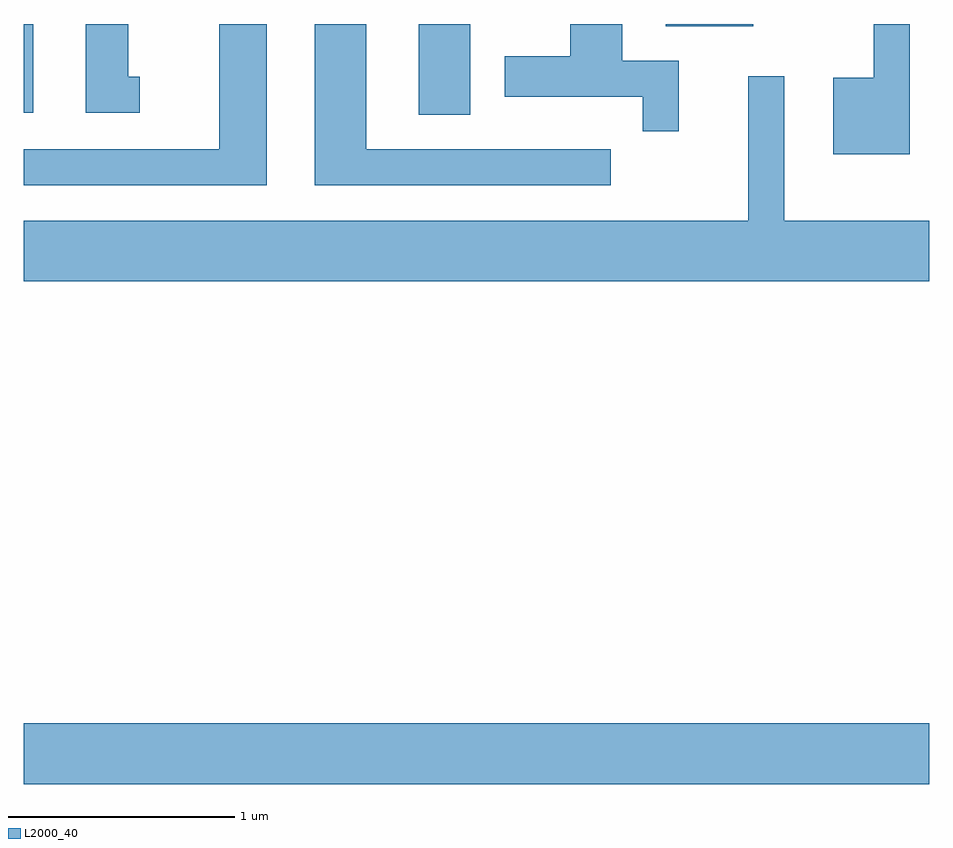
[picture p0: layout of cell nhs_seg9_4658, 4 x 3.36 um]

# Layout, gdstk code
import gdstk
lib = gdstk.Library(unit=1e-6, precision=1e-09)
def R(c, l, rs):  # rectangles x0, y0, x1, y1
    for r in rs: c.add(gdstk.rectangle(r[:2], r[2:], *l))
def P(c, l, *ps):  # polygons
    for p in ps: c.add(gdstk.Polygon(p, *l))
L2000_40 = (2000, 40)

nhs_seg9_4658 = lib.new_cell('nhs_seg9_4658')
R(nhs_seg9_4658, L2000_40, [(321.611,2065.076,325.611,2065.344), (323.356,2068.031,323.584,2068.432), (321.611,2068.041,321.654,2068.432), (324.446,2068.421,324.834,2068.432)])
P(nhs_seg9_4658, L2000_40, [(322.684,2068.432),(322.476,2068.432),(322.476,2067.879),(321.611,2067.879),(321.611,2067.721),(322.684,2067.721)],
  [(325.524,2068.432),(325.366,2068.432),(325.366,2068.194),(325.186,2068.194),(325.186,2067.856),(325.524,2067.856)],
  [(324.504,2068.269),(324.254,2068.269),(324.254,2068.432),(324.026,2068.432),(324.026,2068.289),(323.736,2068.289),(323.736,2068.111),(324.346,2068.111),(324.346,2067.958),(324.504,2067.958)],
  [(324.203,2067.879),(323.124,2067.879),(323.124,2068.432),(322.896,2068.432),(322.896,2067.721),(324.203,2067.721)],
  [(322.123,2068.199),(322.074,2068.199),(322.074,2068.432),(321.886,2068.432),(321.886,2068.041),(322.123,2068.041)],
  [(325.611,2067.564),(324.969,2067.564),(324.969,2068.202),(324.811,2068.202),(324.811,2067.564),(321.611,2067.564),(321.611,2067.296),(325.611,2067.296)])

lib.write_gds('nhs_seg9_4658.gds')
